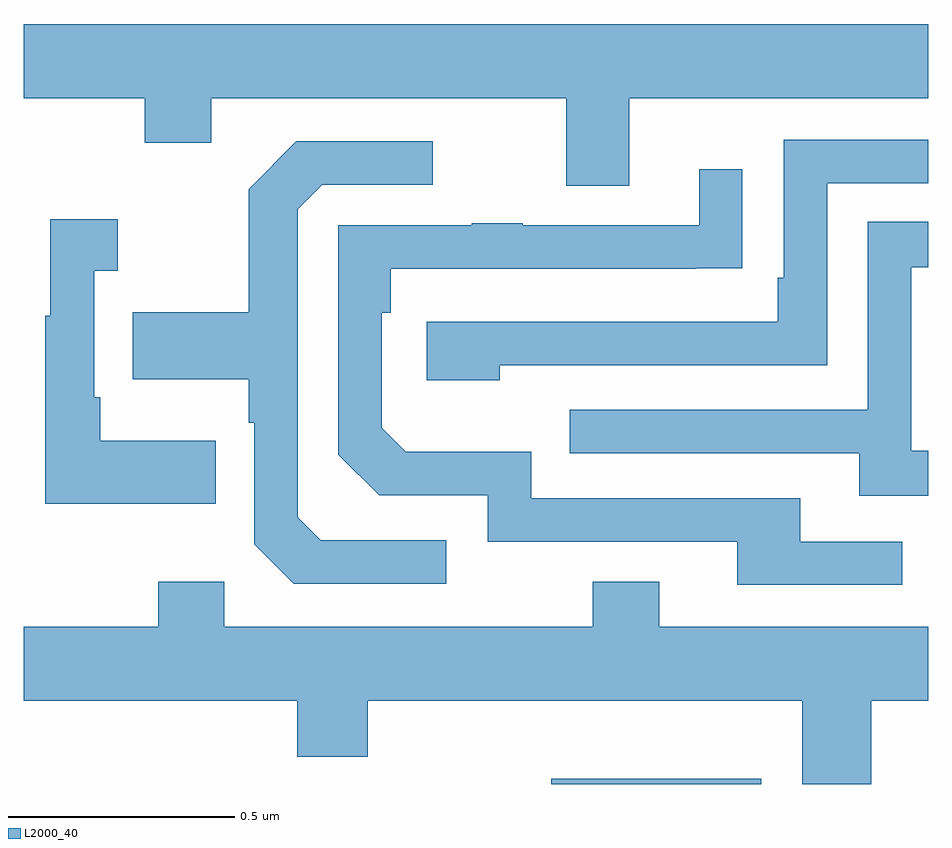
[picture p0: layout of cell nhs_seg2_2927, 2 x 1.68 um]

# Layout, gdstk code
import gdstk
lib = gdstk.Library(unit=1e-6, precision=1e-09)
def R(c, l, rs):  # rectangles x0, y0, x1, y1
    for r in rs: c.add(gdstk.rectangle(r[:2], r[2:], *l))
def P(c, l, *ps):  # polygons
    for p in ps: c.add(gdstk.Polygon(p, *l))
L2000_40 = (2000, 40)

nhs_seg2_2927 = lib.new_cell('nhs_seg2_2927')
R(nhs_seg2_2927, L2000_40, [(148.166,632.8,148.63,632.812)])
P(nhs_seg2_2927, L2000_40, [(147,634.316),(147.268,634.316),(147.268,634.217),(147.415,634.217),(147.415,634.316),(148.199,634.316),(148.199,634.122),(148.339,634.122),(148.339,634.316),(149,634.316),(149,634.48),(147,634.48)],
  [(148.052,633.726),(148.776,633.726),(148.776,634.128),(149,634.128),(149,634.224),(148.68,634.224),(148.68,633.919),(148.667,633.919),(148.667,633.822),(147.891,633.822),(147.891,633.692),(148.052,633.692)],
  [(147.934,633.339),(147.657,633.339),(147.606,633.39),(147.606,634.071),(147.66,634.125),(147.904,634.125),(147.904,634.221),(147.603,634.221),(147.498,634.115),(147.498,633.843),(147.241,633.843),(147.241,633.695),(147.498,633.695),(147.498,633.599),(147.51,633.599),(147.51,633.33),(147.597,633.243),(147.934,633.243)],
  [(148.942,633.336),(148.717,633.336),(148.717,633.432),(148.122,633.432),(148.122,633.535),(147.845,633.535),(147.792,633.588),(147.792,633.842),(147.812,633.842),(147.812,633.939),(148.487,633.939),(148.487,633.94),(148.589,633.94),(148.589,634.159),(148.493,634.159),(148.493,634.035),(148.103,634.035),(148.103,634.04),(147.991,634.04),(147.991,634.035),(147.696,634.035),(147.696,633.528),(147.786,633.438),(148.026,633.438),(148.026,633.336),(148.577,633.336),(148.577,633.24),(148.942,633.24)],
  [(147.425,633.559),(147.169,633.559),(147.169,633.655),(147.156,633.655),(147.156,633.935),(147.208,633.935),(147.208,634.048),(147.059,634.048),(147.059,633.835),(147.048,633.835),(147.048,633.419),(147.425,633.419)],
  [(149,633.537),(148.962,633.537),(148.962,633.942),(149,633.942),(149,634.043),(148.866,634.043),(148.866,633.627),(148.207,633.627),(148.207,633.531),(148.847,633.531),(148.847,633.437),(149,633.437)],
  [(148.874,632.984),(149,632.984),(149,633.148),(148.405,633.148),(148.405,633.247),(148.258,633.247),(148.258,633.148),(147.444,633.148),(147.444,633.247),(147.298,633.247),(147.298,633.148),(147,633.148),(147,632.984),(147.605,632.984),(147.605,632.86),(147.761,632.86),(147.761,632.984),(148.721,632.984),(148.721,632.8),(148.874,632.8)])

lib.write_gds('nhs_seg2_2927.gds')
